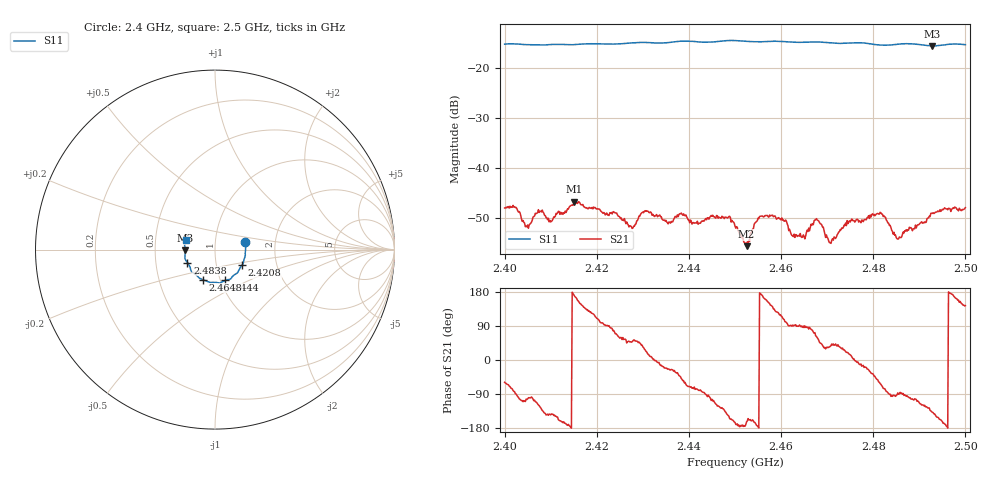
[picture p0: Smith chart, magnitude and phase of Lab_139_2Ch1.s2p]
# Hz S RI R 50
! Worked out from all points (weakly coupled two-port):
!   601 points, 2.4 GHz to 2.5 GHz, reference 50 ohm
!   highest |S21| = -46.79 dB at 2.4152 GHz (marker M1); lowest = -55.7 dB at 2.4525 GHz (marker M2)
!   lowest |S11| = -15.6 dB at 2.4928 GHz (marker M3), VSWR 1.40, Z = 35.8 - j0.343 ohm
!   |S11| at or under -10 dB: start of sweep to end of sweep
!   S12 and S22 are empty: the file has one direction only
!   S11 on the Smith chart (normalised r, x): 2.4 GHz: 1.40, +0.12; 2.4208 GHz: 1.33, -0.24; 2.444 GHz: 1.06, -0.37; 2.4648 GHz: 0.83, -0.29; 2.4838 GHz: 0.73, -0.11; 2.5 GHz: 0.72, +0.08
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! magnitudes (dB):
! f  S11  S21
! 2.4 GHz  -15.3  -48.1
! 2.405 GHz  -15.4  -51.5
! 2.4152 GHz  -15.3  -46.8
! 2.4167 GHz  -15.2  -47.4
! 2.4208 GHz  -15.2  -48.7
! 2.4275 GHz  -15.0  -51.8
! 2.4303 GHz  -14.9  -48.7
! 2.4333 GHz  -15.0  -49.7
! 2.444 GHz  -14.9  -50.0
! 2.45 GHz  -14.5  -51.7
! 2.4525 GHz  -14.7  -55.7
! 2.4563 GHz  -14.7  -49.8
! 2.4648 GHz  -14.9  -53.5
! 2.4667 GHz  -14.8  -51.5
! 2.4682 GHz  -14.8  -50.7
! 2.4708 GHz  -15.0  -55.2
! 2.4752 GHz  -15.0  -50.6
! 2.4833 GHz  -15.4  -51.1
! 2.4838 GHz  -15.4  -52.0
! 2.4857 GHz  -15.2  -53.9
! 2.4928 GHz  -15.6  -49.2
! 2.5 GHz  -15.4  -48.0
